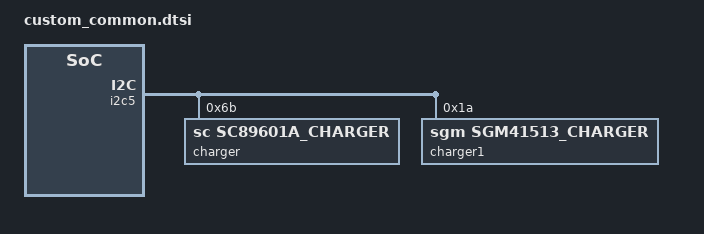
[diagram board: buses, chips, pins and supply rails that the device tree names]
/*
 * Copyright (c) 2019 MediaTek Inc.
 *
 * This program is free software; you can redistribute it and/or modify
 * it under the terms of the GNU General Public License version 2 as
 * published by the Free Software Foundation.
 *
 * This program is distributed in the hope that it will be useful,
 * but WITHOUT ANY WARRANTY; without even the implied warranty of
 * MERCHANTABILITY or FITNESS FOR A PARTICULAR PURPOSE.  See the
 * GNU General Public License for more details.
 */

/*charger start*/
/* 2022.5.18 longcheer zhangfeng5 edit. begin */
/* kenrel driver porting: remove eta6963 charger */
&i2c5 {
    status = "okay";
	charger@6B {
        compatible = "sc,sc89601a_charger";
        reg = <0x6B>;
        sc,sc89601a,usb-vlim = <4600>;
        sc,sc89601a,usb-ilim = <500>;
        sc,sc89601a,usb-vreg = <4400>;
        sc,sc89601a,usb-ichg = <500>;
        sc,sc89601a,precharge-current = <180>;
        sc,sc89601a,termination-current = <240>;
        sc,sc89601a,boost-voltage = <5150>;
        sc,sc89601a,boost-current = <1200>;
        sc,sc89601a,enable_term;
        sc,sc89601a,stat-pin-ctrl = <3>;
        sc,sc89601a,vac-ovp-threshold = <6500>;
        };
	charger1@1A {
        compatible = "sgm,sgm41513_charger";
        reg = <0x1A>;
        sgm,sgm41513,usb-vlim = <4600>;
        sgm,sgm41513,usb-ilim = <500>;
        sgm,sgm41513,usb-vreg = <4400>;
        sgm,sgm41513,usb-ichg = <500>;
        sgm,sgm41513,precharge-current = <180>;
        sgm,sgm41513,termination-current = <240>;
        sgm,sgm41513,boost-voltage = <5150>;
        sgm,sgm41513,boost-current = <1200>;
        sgm,sgm41513,enable_term;
        sgm,sgm41513,stat-pin-ctrl = <3>;
        sgm,sgm41513,vac-ovp-threshold = <6500>;
	}; 
};
/* 2022.5.18 longcheer zhangfeng5 edit. end */
/*charger end*/

/*End of this file, DO NOT ADD ANYTHING HERE*/

